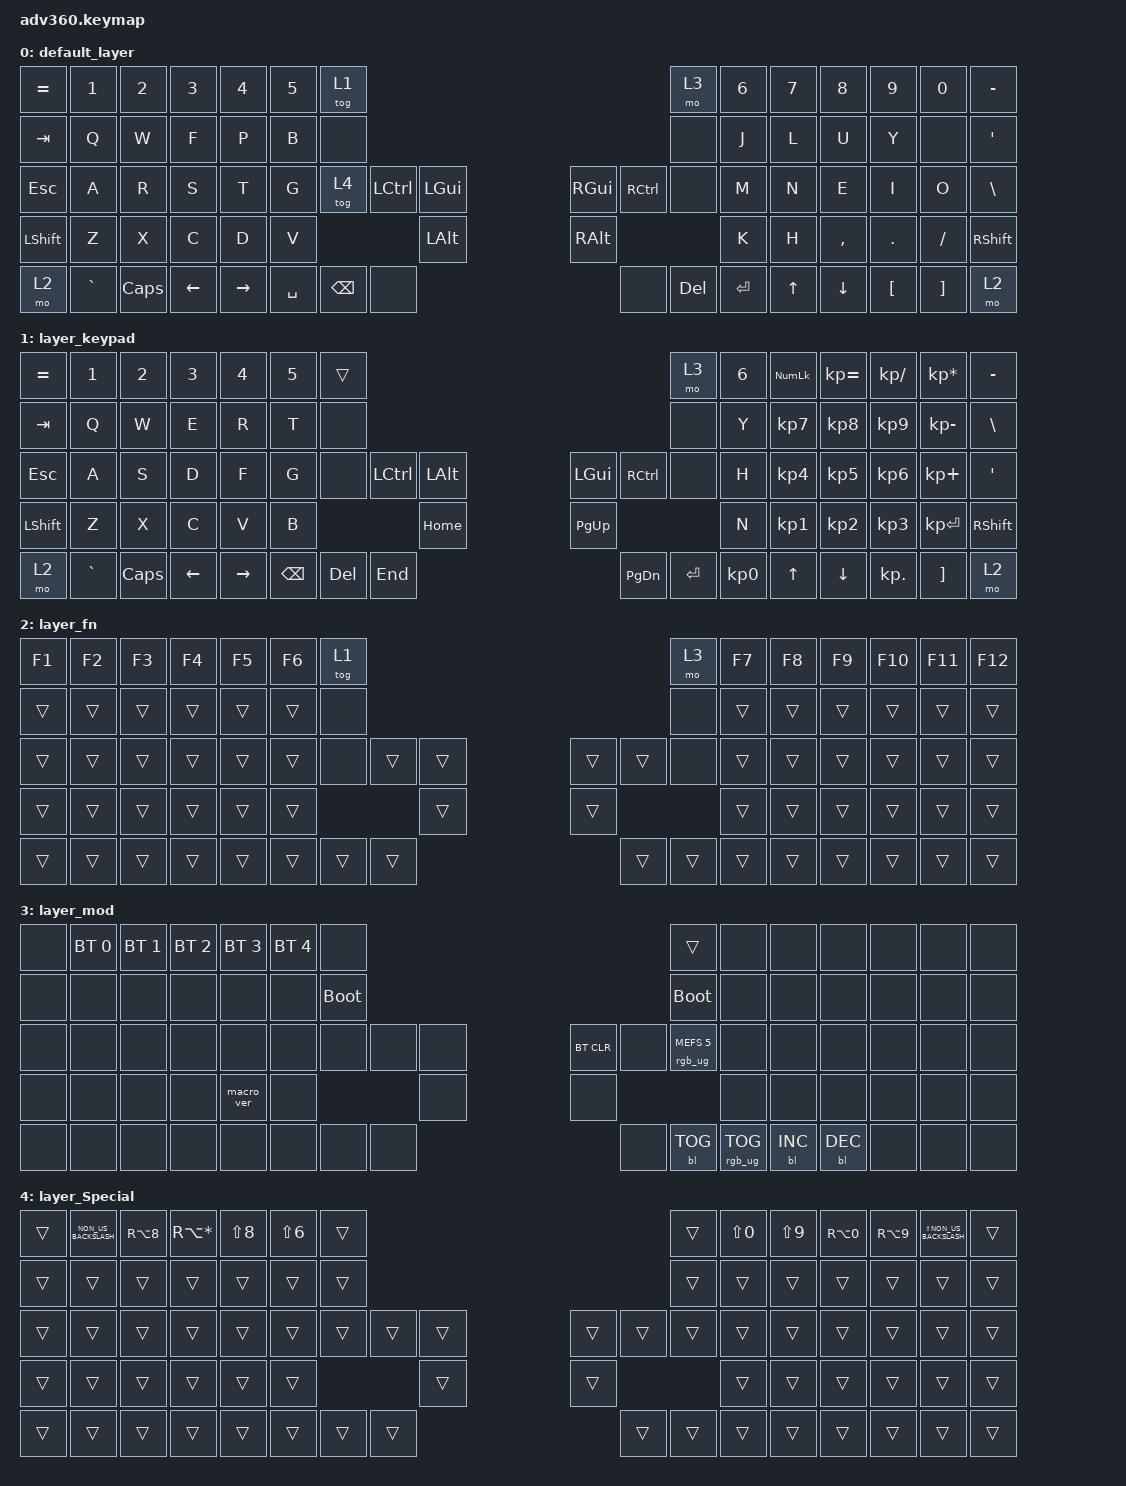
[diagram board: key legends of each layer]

/*
 * Copyright (c) 2020 The ZMK Contributors
 *
 * SPDX-License-Identifier: MIT
 */


/* THIS FILE WAS GENERATED!
 *
 * This file was generated automatically. You may or may not want to
 * edit it directly.
 */

#include <behaviors.dtsi>
#include <dt-bindings/zmk/keys.h>
#include <dt-bindings/zmk/bt.h>
#include <dt-bindings/zmk/rgb.h>
#include <dt-bindings/zmk/backlight.h>

/ {
  behaviors {
    #include "macros.dtsi"
    #include "version.dtsi"

    hm: homerow_mods {
        compatible = "zmk,behavior-hold-tap";
        label = "HOMEROW_MODS";
        #binding-cells = <2>;
        tapping-term-ms = <200>;
        quick_tap_ms = <175>;
        flavor = "tap-preferred";
        bindings = <&kp>, <&kp>;
    };
  };

    keymap {
        compatible = "zmk,keymap";


        default_layer {
            bindings = <
 &kp EQUAL     &kp N1    &kp N2    &kp N3     &kp N4  &kp N5               &tog 1                                                                             &mo 3  &kp N6  &kp N7     &kp N8    &kp N9    &kp N0      &kp MINUS
   &kp TAB      &kp Q     &kp W     &kp F      &kp P   &kp B                &none                                                                             &none   &kp J   &kp L      &kp U     &kp Y     &none       &kp APOS
   &kp ESC      &kp A     &kp R     &kp S      &kp T   &kp G               &tog 4      &kp LCTRL      &kp LGUI                       &kp RGUI  &kp RCTRL      &none   &kp M   &kp N      &kp E     &kp I     &kp O  &kp BACKSLASH
 &kp LSHFT      &kp Z     &kp X     &kp C      &kp D   &kp V                                      &kp LEFT_ALT                  &kp RIGHT_ALT                         &kp K   &kp H  &kp COMMA   &kp DOT  &kp FSLH      &kp RSHFT
     &mo 2  &kp GRAVE  &kp CAPS  &kp LEFT  &kp RIGHT                    &kp SPACE  &kp BACKSPACE         &none                          &none    &kp DEL  &kp ENTER          &kp UP   &kp DOWN  &kp LBKT  &kp RBKT          &mo 2
            >;
        };

        layer_keypad {
            bindings = <
 &kp EQUAL     &kp N1    &kp N2    &kp N3     &kp N4  &kp N5              &trans                                                                 &mo 3  &kp N6  &kp KP_NUM  &kp KP_EQUAL  &kp KP_DIVIDE  &kp KP_MULTIPLY  &kp MINUS
   &kp TAB      &kp Q     &kp W     &kp E      &kp R   &kp T               &none                                                                 &none   &kp Y   &kp KP_N7     &kp KP_N8      &kp KP_N9     &kp KP_MINUS   &kp BSLH
   &kp ESC      &kp A     &kp S     &kp D      &kp F   &kp G               &none  &kp LCTRL  &kp LALT                   &kp LGUI  &kp RCTRL      &none   &kp H   &kp KP_N4     &kp KP_N5      &kp KP_N6      &kp KP_PLUS    &kp SQT
 &kp LSHFT      &kp Z     &kp X     &kp C      &kp V   &kp B                                 &kp HOME                  &kp PG_UP                         &kp N   &kp KP_N1     &kp KP_N2      &kp KP_N3     &kp KP_ENTER  &kp RSHFT
     &mo 2  &kp GRAVE  &kp CAPS  &kp LEFT  &kp RIGHT                    &kp BSPC    &kp DEL   &kp END                  &kp PG_DN  &kp ENTER  &kp KP_N0              &kp UP      &kp DOWN     &kp KP_DOT         &kp RBKT      &mo 2
            >;
        };

        layer_fn {
            bindings = <
 &kp F1  &kp F2  &kp F3  &kp F4  &kp F5  &kp F6            &tog 1                                                   &mo 3  &kp F7  &kp F8  &kp F9  &kp F10  &kp F11  &kp F12
 &trans  &trans  &trans  &trans  &trans  &trans             &none                                                   &none  &trans  &trans  &trans   &trans   &trans   &trans
 &trans  &trans  &trans  &trans  &trans  &trans             &none  &trans  &trans                  &trans  &trans   &none  &trans  &trans  &trans   &trans   &trans   &trans
 &trans  &trans  &trans  &trans  &trans  &trans                            &trans                  &trans                  &trans  &trans  &trans   &trans   &trans   &trans
 &trans  &trans  &trans  &trans  &trans                    &trans  &trans  &trans                  &trans  &trans  &trans          &trans  &trans   &trans   &trans   &trans
            >;
        };

        layer_mod {
            bindings = <
  &none  &bt BT_SEL 0  &bt BT_SEL 1  &bt BT_SEL 2  &bt BT_SEL 3  &bt BT_SEL 4                  &none                                                                          &trans   &none       &none       &none   &none   &none   &none
  &none         &none         &none         &none         &none         &none            &bootloader                                                                     &bootloader   &none       &none       &none   &none   &none   &none
  &none         &none         &none         &none         &none         &none                  &none   &none   &none                  &bt BT_CLR       &none  &rgb_ug RGB_MEFS_CMD 5   &none       &none       &none   &none   &none   &none
  &none         &none         &none         &none    &macro_ver         &none                                  &none                       &none                                       &none       &none       &none   &none   &none   &none
  &none         &none         &none         &none         &none                                &none   &none   &none                       &none  &bl BL_TOG         &rgb_ug RGB_TOG          &bl BL_INC  &bl BL_DEC   &none   &none   &none
            >;
        };

        layer_Special {
            bindings = <
 &trans  &kp NON_US_BACKSLASH  &kp RA(N8)  &kp RA(ASTERISK)  &kp LS(N8)  &kp LS(N6)            &trans                                                  &trans  &kp LS(N0)  &kp LS(N9)  &kp RA(N0)  &kp RA(N9)  &kp LS(NON_US_BACKSLASH)  &trans
 &trans                &trans      &trans            &trans      &trans      &trans            &trans                                                  &trans      &trans      &trans      &trans      &trans                    &trans  &trans
 &trans                &trans      &trans            &trans      &trans      &trans            &trans  &trans  &trans                  &trans  &trans  &trans      &trans      &trans      &trans      &trans                    &trans  &trans
 &trans                &trans      &trans            &trans      &trans      &trans                            &trans                  &trans                      &trans      &trans      &trans      &trans                    &trans  &trans
 &trans                &trans      &trans            &trans      &trans                        &trans  &trans  &trans                  &trans  &trans  &trans                  &trans      &trans      &trans                    &trans  &trans
            >;
        };

    };
};
